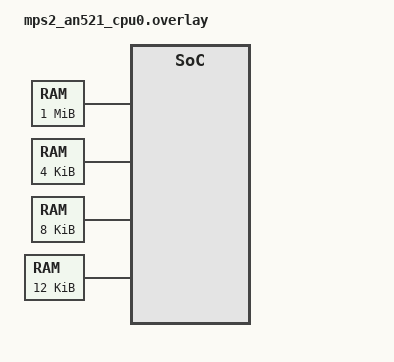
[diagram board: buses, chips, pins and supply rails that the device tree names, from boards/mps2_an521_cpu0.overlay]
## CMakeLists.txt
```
# SPDX-License-Identifier: Apache-2.0

cmake_minimum_required(VERSION 3.28.0)

find_package(Zephyr REQUIRED HINTS $ENV{ZEPHYR_BASE})
project(shared_multi_heap_pool)

target_sources(app PRIVATE src/main.c)
```

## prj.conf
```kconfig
# Copyright 2021 Carlo Caione <ccaione@baylibre.com>
# SPDX-License-Identifier: Apache-2.0

CONFIG_ZTEST=y
CONFIG_SHARED_MULTI_HEAP=y
```

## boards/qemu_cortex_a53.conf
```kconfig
CONFIG_HAVE_CUSTOM_LINKER_SCRIPT=y
CONFIG_CUSTOM_LINKER_SCRIPT="linker_arm64_shared_pool.ld"
CONFIG_MAX_XLAT_TABLES=16
```

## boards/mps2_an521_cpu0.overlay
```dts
/*
 * Copyright (c) 2021 Carlo Caione <ccaione@baylibre.com>
 *
 * SPDX-License-Identifier: Apache-2.0
 */

#include <zephyr/dt-bindings/memory-attr/memory-attr.h>
#include <zephyr/dt-bindings/memory-attr/memory-attr-arm.h>

/ {
	/delete-node/ memory@38000000;

	ssram2_3: memory@38000000 {
		compatible = "zephyr,memory-region", "mmio-sram";
		reg = <0x38000000 0x100000>;
		zephyr,memory-region = "SSRAM2_3";
	};

	res0: memory@38100000 {
		compatible = "zephyr,memory-region", "mmio-sram";
		reg = <0x38100000 0x1000>;
		zephyr,memory-region = "RES0";
		zephyr,memory-attr = <DT_MEM_ARM(ATTR_MPU_RAM)>;
	};

	res1: memory@38200000 {
		compatible = "zephyr,memory-region", "mmio-sram";
		reg = <0x38200000 0x2000>;
		zephyr,memory-region = "RES1";
		zephyr,memory-attr = <DT_MEM_ARM(ATTR_MPU_RAM_NOCACHE)>;
	};

	res2: memory@38300000 {
		compatible = "zephyr,memory-region", "mmio-sram";
		reg = <0x38300000 0x3000>;
		zephyr,memory-region = "RES2";
		zephyr,memory-attr = <DT_MEM_ARM(ATTR_MPU_RAM)>;
	};
};
```

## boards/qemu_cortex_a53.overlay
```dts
/*
 * Copyright (c) 2021 Carlo Caione <ccaione@baylibre.com>
 *
 * SPDX-License-Identifier: Apache-2.0
 */

#include <zephyr/dt-bindings/memory-attr/memory-attr.h>
#include <zephyr/dt-bindings/memory-attr/memory-attr-arm64.h>

/ {
	soc {
		res0: memory@42000000 {
			compatible = "zephyr,memory-region", "mmio-sram";
			reg = <0x0 0x42000000 0x0 0x1000>;
			zephyr,memory-region = "RES0";
			zephyr,memory-attr = <DT_MEM_ARM64_MMU_NORMAL>;
		};

		res1: memory@43000000 {
			compatible = "zephyr,memory-region", "mmio-sram";
			reg = <0x0 0x43000000 0x0 0x2000>;
			zephyr,memory-region = "RES1";
			zephyr,memory-attr = <DT_MEM_ARM64_MMU_NORMAL_NC>;
		};

		res2: memory@44000000 {
			compatible = "zephyr,memory-region", "mmio-sram";
			reg = <0x0 0x44000000 0x0 0x3000>;
			zephyr,memory-region = "RES2";
			zephyr,memory-attr = <DT_MEM_ARM64_MMU_NORMAL>;
		};

		res_no_mpu: memory@45000000 {
			compatible = "zephyr,memory-region", "mmio-sram";
			reg = <0x0 0x45000000 0x0 0x1000>;
			zephyr,memory-region = "RES_NO_MPU";
		};
	};
};
```

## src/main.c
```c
/*
 * Copyright (c) 2021 Carlo Caione <ccaione@baylibre.com>
 *
 * SPDX-License-Identifier: Apache-2.0
 */

#include <zephyr/kernel.h>
#include <zephyr/ztest.h>
#include <zephyr/linker/linker-defs.h>
#if defined(CONFIG_ARM64)
#include <zephyr/dt-bindings/memory-attr/memory-attr-arm64.h>
#else
#include <zephyr/dt-bindings/memory-attr/memory-attr-arm.h>
#endif

#include <zephyr/multi_heap/shared_multi_heap.h>

#define DT_DRV_COMPAT		zephyr_memory_region

#define SMH_DT_MEM_UNKNOWN_DEFAULT DT_MEM_ARCH_ATTR_UNKNOWN

#define RES0_CACHE_ADDR		DT_REG_ADDR(DT_NODELABEL(res0))
#define RES1_NOCACHE_ADDR	DT_REG_ADDR(DT_NODELABEL(res1))
#define RES2_CACHE_ADDR		DT_REG_ADDR(DT_NODELABEL(res2))

struct region_map {
	struct shared_multi_heap_region region;
	uintptr_t p_addr;
};

#define FOREACH_REG(n)								\
	{									\
		.region = {							\
			.addr = (uintptr_t) DT_INST_REG_ADDR(n),		\
			.size = DT_INST_REG_SIZE(n),				\
			.attr = DT_INST_PROP_OR(n, zephyr_memory_attr,		\
						SMH_DT_MEM_UNKNOWN_DEFAULT),	\
		},								\
	},

struct region_map map[] = {
	DT_INST_FOREACH_STATUS_OKAY(FOREACH_REG)
};

/*
 * Given a virtual address retrieve the original memory region that the mapping
 * is belonging to.
 */
static struct region_map *get_region_map(void *v_addr)
{
	for (size_t reg = 0; reg < ARRAY_SIZE(map); reg++) {
		if ((uintptr_t) v_addr >= map[reg].region.addr &&
		    (uintptr_t) v_addr < map[reg].region.addr + map[reg].region.size) {
			return &map[reg];
		}
	}
	return NULL;
}

static inline enum shared_multi_heap_attr dt_to_reg_attr(uint32_t dt_attr)
{
#if defined(CONFIG_ARM64)
	if (DT_MEM_ATTR_GET(dt_attr) & DT_MEM_CACHEABLE) {
		return SMH_REG_ATTR_CACHEABLE;
	}
	return SMH_REG_ATTR_NON_CACHEABLE;
#else
	switch (DT_MEM_ARM_GET(dt_attr)) {
	case DT_MEM_ARM_MPU_RAM:
		return SMH_REG_ATTR_CACHEABLE;
	case DT_MEM_ARM_MPU_RAM_NOCACHE:
		return SMH_REG_ATTR_NON_CACHEABLE;
	default:
		ztest_test_fail();
	}

	return 0;
#endif
}

static void fill_multi_heap(void)
{
	struct region_map *reg_map;

	for (size_t idx = 0; idx < DT_NUM_INST_STATUS_OKAY(DT_DRV_COMPAT); idx++) {
		reg_map = &map[idx];

		/* zephyr,memory-attr property not found. Skip it. */
		if (reg_map->region.attr == SMH_DT_MEM_UNKNOWN_DEFAULT) {
			continue;
		}

		/* Convert MPU attributes to shared-multi-heap capabilities */
		reg_map->region.attr = dt_to_reg_attr(reg_map->region.attr);

		/* Assume for now that phys == virt */
		reg_map->p_addr = reg_map->region.addr;

		shared_multi_heap_add(&reg_map->region, NULL);
	}
}

static void *shared_multi_heap_setup(void)
{
	int ret;

	ret = shared_multi_heap_pool_init();
	zassert_equal(0, ret, "failed initialization");

	/*
	 * Fill the buffer pool with the memory heaps coming from DT
	 */
	fill_multi_heap();

	return NULL;
}

ZTEST(shared_multi_heap, test_shared_multi_heap)
{
	struct region_map *reg_map;
	void *block;
	int ret;

	/*
	 * Return -EALREADY if already inited
	 */
	ret = shared_multi_heap_pool_init();
	zassert_equal(-EALREADY, ret, "second init should fail");

	/*
	 * Request a small cacheable chunk. It should be allocated in the
	 * smaller region RES0
	 */
	block = shared_multi_heap_alloc(SMH_REG_ATTR_CACHEABLE, 0x40);
	reg_map = get_region_map(block);

	zassert_equal(reg_map->p_addr, RES0_CACHE_ADDR, "block in the wrong memory region");
	zassert_equal(reg_map->region.attr, SMH_REG_ATTR_CACHEABLE, "wrong memory attribute");

	/*
	 * Request another small cacheable chunk. It should be allocated in the
	 * smaller cacheable region RES0
	 */
	block = shared_multi_heap_alloc(SMH_REG_ATTR_CACHEABLE, 0x80);
	reg_map = get_region_map(block);

	zassert_equal(reg_map->p_addr, RES0_CACHE_ADDR, "block in the wrong memory region");
	zassert_equal(reg_map->region.attr, SMH_REG_ATTR_CACHEABLE, "wrong memory attribute");

	/*
	 * Request a big cacheable chunk. It should be allocated in the
	 * bigger cacheable region RES2
	 */
	block = shared_multi_heap_alloc(SMH_REG_ATTR_CACHEABLE, 0x1200);
	reg_map = get_region_map(block);

	zassert_equal(reg_map->p_addr, RES2_CACHE_ADDR, "block in the wrong memory region");
	zassert_equal(reg_map->region.attr, SMH_REG_ATTR_CACHEABLE, "wrong memory attribute");

	/*
	 * Request a non-cacheable chunk. It should be allocated in the
	 * non-cacheable region RES1
	 */
	block = shared_multi_heap_alloc(SMH_REG_ATTR_NON_CACHEABLE, 0x100);
	reg_map = get_region_map(block);

	zassert_equal(reg_map->p_addr, RES1_NOCACHE_ADDR, "block in the wrong memory region");
	zassert_equal(reg_map->region.attr, SMH_REG_ATTR_NON_CACHEABLE, "wrong memory attribute");

	/*
	 * Request again a non-cacheable chunk. It should be allocated in the
	 * non-cacheable region RES1
	 */
	block = shared_multi_heap_alloc(SMH_REG_ATTR_NON_CACHEABLE, 0x100);
	reg_map = get_region_map(block);

	zassert_equal(reg_map->p_addr, RES1_NOCACHE_ADDR, "block in the wrong memory region");
	zassert_equal(reg_map->region.attr, SMH_REG_ATTR_NON_CACHEABLE, "wrong memory attribute");

	/* Request a block too big */
	block = shared_multi_heap_alloc(SMH_REG_ATTR_NON_CACHEABLE, 0x10000);
	zassert_is_null(block, "allocated buffer too big for the region");

	/* Request a 0-sized block */
	block = shared_multi_heap_alloc(SMH_REG_ATTR_NON_CACHEABLE, 0);
	zassert_is_null(block, "0 size accepted as valid");

	/* Request a non-existent attribute */
	block = shared_multi_heap_alloc(MAX_SHARED_MULTI_HEAP_ATTR, 0x100);
	zassert_is_null(block, "wrong attribute accepted as valid");
}

#define STRESS_THREADS    4
#define STRESS_STACK_SIZE (1024 + CONFIG_TEST_EXTRA_STACK_SIZE)
#define STRESS_SLOTS      4
#define STRESS_MAX_SIZE   256U
#define STRESS_ITERATIONS 20000

static K_THREAD_STACK_ARRAY_DEFINE(stress_stacks, STRESS_THREADS, STRESS_STACK_SIZE);
static struct k_thread stress_threads[STRESS_THREADS];
static atomic_t stress_errors;

static uint32_t stress_rand(uint32_t *state)
{
	*state = (*state * 1103515245U) + 12345U;

	return *state >> 16;
}

static bool stress_check(const uint8_t *block, uint8_t pattern, size_t size)
{
	for (size_t i = 0; i < size; i++) {
		if (block[i] != pattern) {
			return false;
		}
	}

	return true;
}

static size_t largest_cacheable_block(void)
{
	void *block;

	for (size_t size = 0x4000; size > 0; size -= 0x40) {
		block = shared_multi_heap_alloc(SMH_REG_ATTR_CACHEABLE, size);
		if (block != NULL) {
			shared_multi_heap_free(block);
			return size;
		}
	}

	return 0;
}

static void stress_entry(void *p1, void *p2, void *p3)
{
	uint8_t pattern = (uint8_t)(uintptr_t)p1;
	uint32_t seed = pattern;
	uint8_t *blocks[STRESS_SLOTS] = {NULL};
	size_t sizes[STRESS_SLOTS] = {0};
	uint8_t *block;
	uint32_t slot;
	size_t size;

	ARG_UNUSED(p2);
	ARG_UNUSED(p3);

	for (int i = 0; i < STRESS_ITERATIONS; i++) {
		slot = stress_rand(&seed) % STRESS_SLOTS;
		size = 1U + (stress_rand(&seed) % STRESS_MAX_SIZE);

		if (blocks[slot] != NULL) {
			if (!stress_check(blocks[slot], pattern, sizes[slot])) {
				atomic_inc(&stress_errors);
			}

			if ((stress_rand(&seed) % 4U) == 0U) {
				block = shared_multi_heap_realloc(SMH_REG_ATTR_CACHEABLE,
								  blocks[slot], size);
				if (block != NULL) {
					blocks[slot] = block;
					sizes[slot] = size;
					memset(block, pattern, size);
				}
				continue;
			}

			shared_multi_heap_free(blocks[slot]);
			blocks[slot] = NULL;
			continue;
		}

		block = shared_multi_heap_aligned_alloc(SMH_REG_ATTR_CACHEABLE, 16, size);
		if (block != NULL) {
			memset(block, pattern, size);
			blocks[slot] = block;
			sizes[slot] = size;
		}
	}

	for (slot = 0; slot < STRESS_SLOTS; slot++) {
		if (blocks[slot] != NULL) {
			if (!stress_check(blocks[slot], pattern, sizes[slot])) {
				atomic_inc(&stress_errors);
			}
			shared_multi_heap_free(blocks[slot]);
		}
	}
}

ZTEST(shared_multi_heap, test_shared_multi_heap_concurrent)
{
	size_t largest;

	largest = largest_cacheable_block();
	zassert_not_equal(largest, 0, "no cacheable memory available");

	atomic_set(&stress_errors, 0);
	k_sched_time_slice_set(1, K_PRIO_PREEMPT(1));

	for (int i = 0; i < STRESS_THREADS; i++) {
		k_thread_create(&stress_threads[i], stress_stacks[i],
				K_THREAD_STACK_SIZEOF(stress_stacks[i]), stress_entry,
				(void *)(uintptr_t)(i + 1), NULL, NULL, K_PRIO_PREEMPT(1), 0,
				K_NO_WAIT);
	}

	for (int i = 0; i < STRESS_THREADS; i++) {
		k_thread_join(&stress_threads[i], K_FOREVER);
	}

	k_sched_time_slice_set(CONFIG_TIMESLICE_SIZE, CONFIG_TIMESLICE_PRIORITY);

	zassert_equal(atomic_get(&stress_errors), 0, "block content corrupted");

	/* All blocks are freed, so the cacheable pool must be as it was before */
	zassert_equal(largest_cacheable_block(), largest,
		      "cacheable pool damaged after concurrent use");
}

ZTEST_SUITE(shared_multi_heap, NULL, shared_multi_heap_setup, NULL, NULL, NULL);
```
